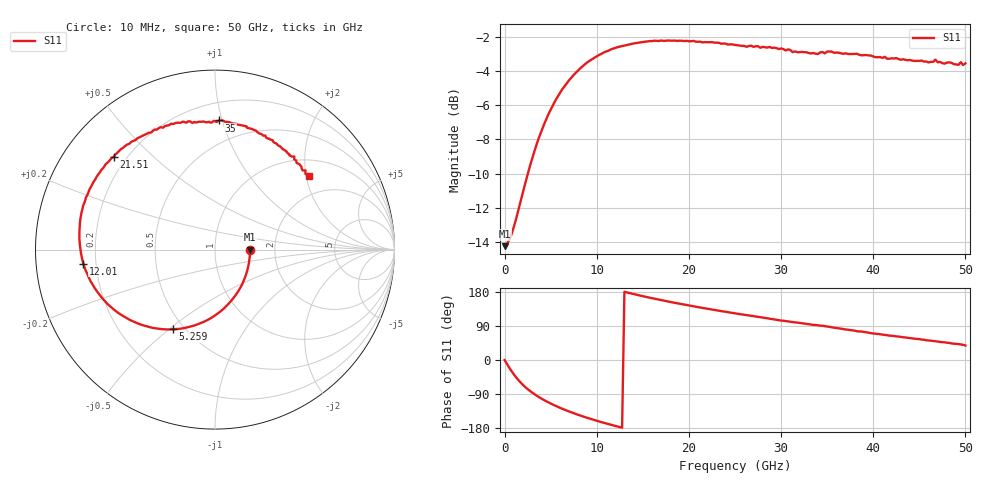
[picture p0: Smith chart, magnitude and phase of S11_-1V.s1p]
!Agilent Technologies,N5227A,US51270434,A.10.00.00
!Agilent N5227A: A.10.00.00
!Date: Thursday, February 26, 2026 11:59:31
!Correction: S11(Full 1 Port(1))
!S1P File: Measurement: S11:
# Hz S  dB  R 50
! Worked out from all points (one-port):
!   201 points, 10 MHz to 50 GHz, reference 50 ohm
!   lowest |S11| = -14.2 dB at 10 MHz (marker M1), VSWR 1.48, Z = 74.1 - j0.107 ohm
!   |S11| at or under -10 dB: start of sweep to 2.536 GHz
!   S11 on the Smith chart (normalised r, x): 10 MHz: 1.48, -0.00; 5.259 GHz: 0.44, -0.52; 12.01 GHz: 0.15, -0.05; 21.51 GHz: 0.15, +0.38; 35 GHz: 0.33, +0.97; 50 GHz: 1.40, +2.07
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1e7  -14.25 -0.2
5.099e8  -13.88 -20.0
1.25975e9  -12.65 -45.8
2.75945e9  -9.56 -81.6
4.0092e9  -7.50 -101.9
5.25895e9  -5.99 -117.8
6.25875e9  -5.07 -128.6
7.5085e9  -4.22 -140.4
9.0082e9  -3.48 -152.8
1.05079e10  -2.99 -164.0
1.20076e10  -2.65 -173.9
1.25075e10  -2.57 -177.1
1.525695e10  -2.28 167.2
1.70066e10  -2.21 158.0
1.875625e10  -2.23 149.6
2.15057e10  -2.32 137.4
2.5005e10  -2.47 123.1
2.875425e10  -2.59 109.2
3.075385e10  -2.73 101.7
3.125375e10  -2.89 100.1
3.5003e10  -2.86 88.4
3.75025e10  -3.00 78.9
3.975205e10  -3.09 70.9
4.375125e10  -3.37 58.6
4.675065e10  -3.33 49.6
4.925015e10  -3.64 42.1
4.95001e10  -3.48 41.2
5e10  -3.55 38.2
